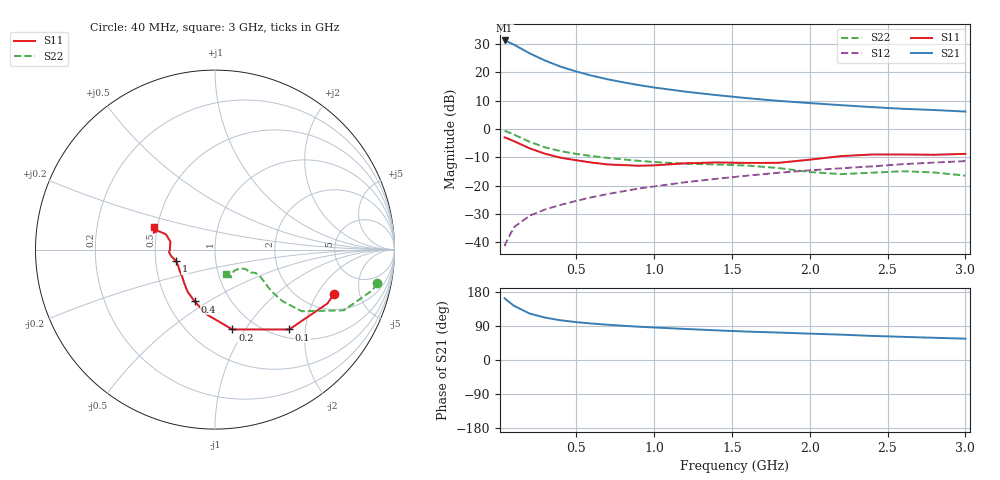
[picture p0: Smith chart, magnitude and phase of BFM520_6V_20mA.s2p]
! Filename: BFM520B.s2p
! Bias: Vce=6V; Ic=20mA
! Company: Philips Semiconductors NL
! User: Quality&Reliability T&D
! Measure time:  1 May 2001 / 10:45:28
#  MHz  S  MA  R 50
! Freq  S11  S21  S12  S22  :
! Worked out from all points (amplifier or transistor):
!   22 points, 40 MHz to 3 GHz, reference 50 ohm
!   highest |S21| = 31.2 dB at 40 MHz (marker M1)
!   |S21| within 3 dB of that: start of sweep to 149.9 MHz
!   unconditionally stable (mu >= 1): 696.4 MHz to 2.562 GHz; 2.926 GHz to end of sweep
!   at 200 MHz: K = 0.58, MSG = 28.7 dB, |S12| = -30.7 dB
!   at 1 GHz: K = 1.05, MAG = 16.1 dB, |S12| = -20.3 dB
!   at 3 GHz: K = 1.00, MAG = 8.4 dB, |S12| = -11.4 dB
!   S11 on the Smith chart (normalised r, x): 40 MHz: 2.83, -2.83; 100 MHz: 1.16, -1.64; 200 MHz: 0.78, -0.88; 400 MHz: 0.68, -0.44; 1 GHz: 0.64, -0.08; 3 GHz: 0.48, +0.14
40  0.7077 -20.7  36.43 163.1  0.008519 79.0  0.923 -11.7
50  0.6943 -25.7  35.71 159.2  0.01 76.6  0.906 -14.5
100  0.6074 -47.1  30.72 143.0  0.01845 71.1  0.7942 -25.2
200  0.4553 -77.8  21.65 122.7  0.02929 65.4  0.5933 -35.4
300  0.3645 -97.2  16.07 111.8  0.03789 65.8  0.4728 -37.4
400  0.3104 -111.4  12.56 104.8  0.04564 67.7  0.4054 -36.6
500  0.2801 -123.0  10.32 100.0  0.05363 69.2  0.3619 -35.2
600  0.2546 -132.2  8.722 96.2  0.06236 70.6  0.3314 -33.4
700  0.2362 -141.0  7.537 93.1  0.07066 71.4  0.3083 -32.0
800  0.2301 -148.5  6.664 90.4  0.07915 72.5  0.2895 -30.5
900  0.2239 -157.3  5.95 87.9  0.0886 72.4  0.2735 -29.9
1000  0.2274 -164.1  5.388 85.8  0.09647 72.8  0.2603 -30.0
1200  0.247 -171.6  4.554 81.9  0.1145 73.5  0.2431 -31.7
1400  0.256 -176.6  3.955 78.2  0.1317 73.2  0.2356 -33.5
1600  0.2509 178.7  3.487 75.0  0.1497 73.4  0.2255 -33.2
1800  0.2523 169.9  3.127 72.4  0.1683 73.0  0.2038 -32.3
2000  0.2866 162.7  2.859 69.6  0.1858 72.5  0.1736 -36.7
2200  0.331 161.9  2.628 67.0  0.2019 71.4  0.1592 -48.1
2400  0.3535 163.9  2.428 63.6  0.2181 70.9  0.1688 -57.8
2600  0.3539 164.7  2.264 61.1  0.2389 69.8  0.179 -60.3
2800  0.3499 163.4  2.157 58.6  0.2548 68.5  0.1705 -60.5
3000  0.3628 160.0  2.024 56.3  0.2705 67.8  0.1497 -67.0
